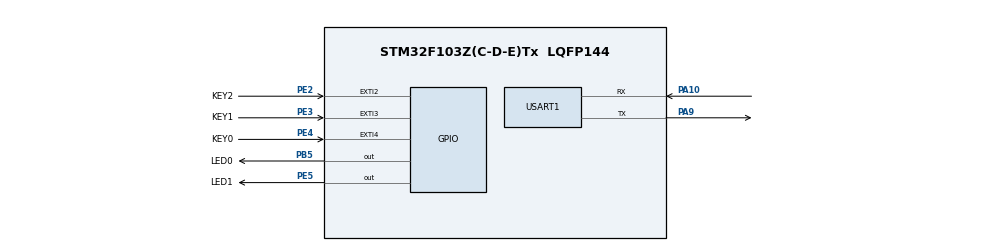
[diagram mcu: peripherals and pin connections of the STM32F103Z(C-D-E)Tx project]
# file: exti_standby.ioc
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Mcu.Family=STM32F1
Mcu.Name=STM32F103Z(C-D-E)Tx
Mcu.Package=LQFP144
NVIC.EXTI2_IRQn=true\:0\:0\:false\:false\:true\:true\:true\:true
NVIC.EXTI3_IRQn=true\:0\:0\:false\:false\:true\:true\:true\:true
NVIC.EXTI4_IRQn=true\:0\:0\:false\:false\:true\:true\:true\:true
NVIC.PriorityGroup=NVIC_PRIORITYGROUP_4
NVIC.USART1_IRQn=true\:0\:0\:false\:false\:true\:true\:true\:true
OSC_IN.Mode=HSE-External-Oscillator
OSC_IN.Signal=RCC_OSC_IN
OSC_OUT.Mode=HSE-External-Oscillator
OSC_OUT.Signal=RCC_OSC_OUT
PA0-WKUP.Mode=SYS_WakeUp0
PA0-WKUP.Signal=SYS_WKUP
PA10.Mode=Asynchronous
PA10.Signal=USART1_RX
PA13.Mode=JTAG_4_pins
PA13.Signal=SYS_JTMS-SWDIO
PA14.Mode=JTAG_4_pins
PA14.Signal=SYS_JTCK-SWCLK
PA15.Mode=JTAG_4_pins
PA15.Signal=SYS_JTDI
PA9.Mode=Asynchronous
PA9.Signal=USART1_TX
PB3.Mode=JTAG_4_pins
PB3.Signal=SYS_JTDO-TRACESWO
PB5.GPIO_Label=LED0
PB5.GPIO_ModeDefaultOutputPP=GPIO_MODE_OUTPUT_PP
PB5.GPIO_PuPd=GPIO_PULLUP
PB5.GPIO_Speed=GPIO_SPEED_FREQ_HIGH
PB5.Signal=GPIO_Output
PC14-OSC32_IN.Mode=LSE-External-Oscillator
PC14-OSC32_IN.Signal=RCC_OSC32_IN
PC15-OSC32_OUT.Mode=LSE-External-Oscillator
PC15-OSC32_OUT.Signal=RCC_OSC32_OUT
PE2.GPIO_Label=KEY2
PE2.GPIO_ModeDefaultEXTI=GPIO_MODE_IT_RISING_FALLING
PE2.GPIO_PuPd=GPIO_PULLUP
PE2.Signal=GPXTI2
PE3.GPIO_Label=KEY1
PE3.GPIO_ModeDefaultEXTI=GPIO_MODE_IT_RISING_FALLING
PE3.GPIO_PuPd=GPIO_PULLUP
PE3.Signal=GPXTI3
PE4.GPIO_Label=KEY0
PE4.GPIO_ModeDefaultEXTI=GPIO_MODE_IT_RISING_FALLING
PE4.GPIO_PuPd=GPIO_PULLUP
PE4.Signal=GPXTI4
PE5.GPIO_Label=LED1
PE5.GPIO_PuPd=GPIO_PULLUP
PE5.GPIO_Speed=GPIO_SPEED_FREQ_HIGH
PE5.Signal=GPIO_Output
ProjectManager.HeapSize=0x200
ProjectManager.StackSize=0x400
ProjectManager.TargetToolchain=STM32CubeIDE
RCC.APB1Freq_Value=8000000
RCC.APB2Freq_Value=8000000
USART1.VirtualMode=VM_ASYNC
board=custom

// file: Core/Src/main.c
/* USER CODE BEGIN Header */
/**
 ******************************************************************************
 * @file           : main.c
 * @brief          : Main program body
 ******************************************************************************
 * @attention
 *
 * Copyright (c) 2022 STMicroelectronics.
 * All rights reserved.
 *
 * This software is licensed under terms that can be found in the LICENSE file
 * in the root directory of this software component.
 * If no LICENSE file comes with this software, it is provided AS-IS.
 *
 ******************************************************************************
 */
/* USER CODE END Header */
#include "main.h"

/* USER CODE BEGIN Includes */
#include <stdarg.h>
/* USER CODE END Includes */

/* USER CODE BEGIN PTD */
//@ref:https://github.com/mpredfearn/simple-printf
int putchar(int c);
static void simple_outputchar(char **str, char c) {
	if (str) {
		**str = c;
		++(*str);
	} else {
		putchar(c);
	}
}

enum flags {
	PAD_ZERO = 1, PAD_RIGHT = 2,
};

static int prints(char **out, const char *string, int width, int flags) {
	int pc = 0, padchar = ' ';

	if (width > 0) {
		int len = 0;
		const char *ptr;
		for (ptr = string; *ptr; ++ptr)
			++len;
		if (len >= width)
			width = 0;
		else
			width -= len;
		if (flags & PAD_ZERO)
			padchar = '0';
	}
	if (!(flags & PAD_RIGHT)) {
		for (; width > 0; --width) {
			simple_outputchar(out, padchar);
			++pc;
		}
	}
	for (; *string; ++string) {
		simple_outputchar(out, *string);
		++pc;
	}
	for (; width > 0; --width) {
		simple_outputchar(out, padchar);
		++pc;
	}

	return pc;
}

#define PRINT_BUF_LEN 64

static int simple_outputi(char **out, long long i, int base, int sign,
		int width, int flags, int letbase) {
	char print_buf[PRINT_BUF_LEN];
	char *s;
	int t, neg = 0, pc = 0;
	unsigned long long u = i;

	if (i == 0) {
		print_buf[0] = '0';
		print_buf[1] = '\0';
		return prints(out, print_buf, width, flags);
	}

	if (sign && base == 10 && i < 0) {
		neg = 1;
		u = -i;
	}

	s = print_buf + PRINT_BUF_LEN - 1;
	*s = '\0';

	while (u) {
		t = u % base;
		if (t >= 10)
			t += letbase - '0' - 10;
		*--s = t + '0';
		u /= base;
	}

	if (neg) {
		if (width && (flags & PAD_ZERO)) {
			simple_outputchar(out, '-');
			++pc;
			--width;
		} else {
			*--s = '-';
		}
	}

	return pc + prints(out, s, width, flags);
}

static int simple_vsprintf(char **out, char *format, va_list ap) {
	int width, flags;
	int pc = 0;
	char scr[2];
	union {
		char c;
		char *s;
		int i;
		unsigned int u;
		long li;
		unsigned long lu;
		long long lli;
		unsigned long long llu;
		short hi;
		unsigned short hu;
		signed char hhi;
		unsigned char hhu;
		void *p;
	} u;

	for (; *format != 0; ++format) {
		if (*format == '%') {
			++format;
			width = flags = 0;
			if (*format == '\0')
				break;
			if (*format == '%')
				goto out;
			if (*format == '-') {
				++format;
				flags = PAD_RIGHT;
			}
			while (*format == '0') {
				++format;
				flags |= PAD_ZERO;
			}
			if (*format == '*') {
				width = va_arg(ap, int);
				format++;
			} else {
				for (; *format >= '0' && *format <= '9'; ++format) {
					width *= 10;
					width += *format - '0';
				}
			}
			switch (*format) {
			case ('d'):
				u.i = va_arg(ap, int);
				pc += simple_outputi(out, u.i, 10, 1, width, flags, 'a');
				break;

			case ('u'):
				u.u = va_arg(ap, unsigned int);
				pc += simple_outputi(out, u.u, 10, 0, width, flags, 'a');
				break;

			case ('x'):
				u.u = va_arg(ap, unsigned int);
				pc += simple_outputi(out, u.u, 16, 0, width, flags, 'a');
				break;

			case ('X'):
				u.u = va_arg(ap, unsigned int);
				pc += simple_outputi(out, u.u, 16, 0, width, flags, 'A');
				break;

			case ('c'):
				u.c = va_arg(ap, int);
				scr[0] = u.c;
				scr[1] = '\0';
				pc += prints(out, scr, width, flags);
				break;

			case ('s'):
				u.s = va_arg(ap, char*);
				pc += prints(out, u.s ? u.s : "(null)", width, flags);
				break;
			case ('l'):
				++format;
				switch (*format) {
				case ('d'):
					u.li = va_arg(ap, long);
					pc += simple_outputi(out, u.li, 10, 1, width, flags, 'a');
					break;

				case ('u'):
					u.lu = va_arg(ap, unsigned long);
					pc += simple_outputi(out, u.lu, 10, 0, width, flags, 'a');
					break;

				case ('x'):
					u.lu = va_arg(ap, unsigned long);
					pc += simple_outputi(out, u.lu, 16, 0, width, flags, 'a');
					break;

				case ('X'):
					u.lu = va_arg(ap, unsigned long);
					pc += simple_outputi(out, u.lu, 16, 0, width, flags, 'A');
					break;

				case ('l'):
					++format;
					switch (*format) {
					case ('d'):
						u.lli = va_arg(ap, long long);
						pc += simple_outputi(out, u.lli, 10, 1, width, flags,
								'a');
						break;

					case ('u'):
						u.llu = va_arg(ap, unsigned long long);
						pc += simple_outputi(out, u.llu, 10, 0, width, flags,
								'a');
						break;

					case ('x'):
						u.llu = va_arg(ap, unsigned long long);
						pc += simple_outputi(out, u.llu, 16, 0, width, flags,
								'a');
						break;

					case ('X'):
						u.llu = va_arg(ap, unsigned long long);
						pc += simple_outputi(out, u.llu, 16, 0, width, flags,
								'A');
						break;

					default:
						break;
					}
					break;
				default:
					break;
				}
				break;
			case ('h'):
				++format;
				switch (*format) {
				case ('d'):
					u.hi = va_arg(ap, int);
					pc += simple_outputi(out, u.hi, 10, 1, width, flags, 'a');
					break;

				case ('u'):
					u.hu = va_arg(ap, unsigned int);
					pc += simple_outputi(out, u.lli, 10, 0, width, flags, 'a');
					break;

				case ('x'):
					u.hu = va_arg(ap, unsigned int);
					pc += simple_outputi(out, u.lli, 16, 0, width, flags, 'a');
					break;

				case ('X'):
					u.hu = va_arg(ap, unsigned int);
					pc += simple_outputi(out, u.lli, 16, 0, width, flags, 'A');
					break;

				case ('h'):
					++format;
					switch (*format) {
					case ('d'):
						u.hhi = va_arg(ap, int);
						pc += simple_outputi(out, u.hhi, 10, 1, width, flags,
								'a');
						break;

					case ('u'):
						u.hhu = va_arg(ap, unsigned int);
						pc += simple_outputi(out, u.lli, 10, 0, width, flags,
								'a');
						break;

					case ('x'):
						u.hhu = va_arg(ap, unsigned int);
						pc += simple_outputi(out, u.lli, 16, 0, width, flags,
								'a');
						break;

					case ('X'):
						u.hhu = va_arg(ap, unsigned int);
						pc += simple_outputi(out, u.lli, 16, 0, width, flags,
								'A');
						break;

					default:
						break;
					}
					break;
				default:
					break;
				}
				break;
			default:
				break;
			}
		} else {
			out: simple_outputchar(out, *format);
			++pc;
		}
	}
	if (out)
		**out = '\0';
	return pc;
}

int simple_printf(char *fmt, ...) {
	va_list ap;
	int r;

	va_start(ap, fmt);
	r = simple_vsprintf(NULL, fmt, ap);
	va_end(ap);

	return r;
}

int simple_sprintf(char *buf, char *fmt, ...) {
	va_list ap;
	int r;

	va_start(ap, fmt);
	r = simple_vsprintf(&buf, fmt, ap);
	va_end(ap);

	return r;
}

/* USER CODE END PTD */

/* USER CODE BEGIN PM */
#define KEY0 HAL_GPIO_ReadPin(GPIOE,GPIO_PIN_4) 	//KEY0 按键 PE4
#define KEY1 HAL_GPIO_ReadPin(GPIOE,GPIO_PIN_3) 	//KEY1 按键 PE3
#define KEY2 HAL_GPIO_ReadPin(GPIOE,GPIO_PIN_2) 	//KEY2 按键 PE2
#define WK_UP HAL_GPIO_ReadPin(GPIOA,GPIO_PIN_0) 	//WKUP 按键 PA0

#define KEY0_PRES (1)
#define KEY1_PRES (1<<1)
#define KEY2_PRES (1<<2)
#define WKUP_PRES (1<<3)
/* USER CODE END PM */

UART_HandleTypeDef huart1;

void SystemClock_Config(void);
static void MX_GPIO_Init(void);
static void MX_USART1_UART_Init(void);

/* USER CODE BEGIN 0 */
enum KEY_PRESS_MODE {
	KEY_PRESS_SHORT_MODE, KEY_PRESS_LONG_MODE,
};
uint8_t Key_Scan(enum KEY_PRESS_MODE mode) {
	static uint8_t key_up = 1;
	if (mode == KEY_PRESS_SHORT_MODE) {
		key_up = 1;
	}

	if (key_up && (KEY0 == 0 || KEY1 == 0 || KEY2 == 0 || WK_UP == 1)) {
		HAL_Delay(10);
		key_up = 0;
		if (KEY0 == 0) {
			return KEY0_PRES;
		} else if (KEY1 == 0) {
			return KEY1_PRES;
		} else if (KEY2 == 0) {
			return KEY2_PRES;
		} else if (WK_UP == 1) {
			return WKUP_PRES;
		}
	} else if (KEY0 == 1 && KEY1 == 1 && KEY2 == 1 && WK_UP == 0) {
		key_up = 1;
	}
	return 0;

}

int putchar(int c) {
	HAL_UART_Transmit(&huart1, &c, 1, 10);
	return c;
}

//系统进入待机模式
void Sys_Enter_Standby(void) {
	__HAL_RCC_APB2_FORCE_RESET(); //复位所有 IO 口
	__HAL_RCC_PWR_CLK_ENABLE(); //使能 PWR 时钟

	__HAL_PWR_CLEAR_FLAG(PWR_FLAG_WU); //清除 Wake_UP 标志
	HAL_PWR_EnableWakeUpPin(PWR_WAKEUP_PIN1); //设置 WKUP 用于唤醒
	HAL_PWR_EnterSTANDBYMode(); //进入待机模式
}
/* USER CODE END 0 */

int main(void) {

	/* MCU Configuration--------------------------------------------------------*/

	/* Reset of all peripherals, Initializes the Flash interface and the Systick. */
	HAL_Init();

	/* Configure the system clock */
	SystemClock_Config();

	/* Initialize all configured peripherals */
	MX_GPIO_Init();
	MX_USART1_UART_Init();
	/* USER CODE BEGIN 2 */
	simple_printf("sys start\n");
	HAL_GPIO_WritePin(LED0_GPIO_Port, LED0_Pin, GPIO_PIN_SET);
	HAL_GPIO_WritePin(LED1_GPIO_Port, LED1_Pin, GPIO_PIN_SET);
	HAL_Delay(1000);
	HAL_GPIO_WritePin(LED0_GPIO_Port, LED0_Pin, GPIO_PIN_RESET);
	HAL_GPIO_WritePin(LED1_GPIO_Port, LED1_Pin, GPIO_PIN_RESET);
	HAL_Delay(1000);
	/* USER CODE END 2 */
	simple_printf("sys standby\n");
	Sys_Enter_Standby();
	/* Infinite loop */
	while (1) {
		simple_printf("running\n");
	}
}

void SystemClock_Config(void) {
	RCC_OscInitTypeDef RCC_OscInitStruct = { 0 };
	RCC_ClkInitTypeDef RCC_ClkInitStruct = { 0 };

	/** Initializes the RCC Oscillators according to the specified parameters
	 * in the RCC_OscInitTypeDef structure.
	 */
	RCC_OscInitStruct.OscillatorType = RCC_OSCILLATORTYPE_HSI;
	RCC_OscInitStruct.HSIState = RCC_HSI_ON;
	RCC_OscInitStruct.HSICalibrationValue = RCC_HSICALIBRATION_DEFAULT;
	RCC_OscInitStruct.PLL.PLLState = RCC_PLL_NONE;
	if (HAL_RCC_OscConfig(&RCC_OscInitStruct) != HAL_OK) {
		Error_Handler();
	}

	/** Initializes the CPU, AHB and APB buses clocks
	 */
	RCC_ClkInitStruct.ClockType = RCC_CLOCKTYPE_HCLK | RCC_CLOCKTYPE_SYSCLK
			| RCC_CLOCKTYPE_PCLK1 | RCC_CLOCKTYPE_PCLK2;
	RCC_ClkInitStruct.SYSCLKSource = RCC_SYSCLKSOURCE_HSI;
	RCC_ClkInitStruct.AHBCLKDivider = RCC_SYSCLK_DIV1;
	RCC_ClkInitStruct.APB1CLKDivider = RCC_HCLK_DIV1;
	RCC_ClkInitStruct.APB2CLKDivider = RCC_HCLK_DIV1;

	if (HAL_RCC_ClockConfig(&RCC_ClkInitStruct, FLASH_LATENCY_0) != HAL_OK) {
		Error_Handler();
	}
}

static void MX_USART1_UART_Init(void) {

	huart1.Instance = USART1;
	huart1.Init.BaudRate = 115200;
	huart1.Init.WordLength = UART_WORDLENGTH_8B;
	huart1.Init.StopBits = UART_STOPBITS_1;
	huart1.Init.Parity = UART_PARITY_NONE;
	huart1.Init.Mode = UART_MODE_TX_RX;
	huart1.Init.HwFlowCtl = UART_HWCONTROL_NONE;
	huart1.Init.OverSampling = UART_OVERSAMPLING_16;
	if (HAL_UART_Init(&huart1) != HAL_OK) {
		Error_Handler();
	}

}

static void MX_GPIO_Init(void) {
	GPIO_InitTypeDef GPIO_InitStruct = { 0 };

	/* GPIO Ports Clock Enable */
	__HAL_RCC_GPIOE_CLK_ENABLE();
	__HAL_RCC_GPIOC_CLK_ENABLE();
	__HAL_RCC_GPIOA_CLK_ENABLE();
	__HAL_RCC_GPIOB_CLK_ENABLE();

	/*Configure GPIO pin Output Level */
	HAL_GPIO_WritePin(LED1_GPIO_Port, LED1_Pin, GPIO_PIN_RESET);

	/*Configure GPIO pin Output Level */
	HAL_GPIO_WritePin(LED0_GPIO_Port, LED0_Pin, GPIO_PIN_RESET);

	/*Configure GPIO pins : KEY2_Pin KEY1_Pin KEY0_Pin */
	GPIO_InitStruct.Pin = KEY2_Pin | KEY1_Pin | KEY0_Pin;
	GPIO_InitStruct.Mode = GPIO_MODE_IT_RISING_FALLING;
	GPIO_InitStruct.Pull = GPIO_PULLUP;
	HAL_GPIO_Init(GPIOE, &GPIO_InitStruct);

	/*Configure GPIO pin : LED1_Pin */
	GPIO_InitStruct.Pin = LED1_Pin;
	GPIO_InitStruct.Mode = GPIO_MODE_OUTPUT_PP;
	GPIO_InitStruct.Pull = GPIO_PULLUP;
	GPIO_InitStruct.Speed = GPIO_SPEED_FREQ_HIGH;
	HAL_GPIO_Init(LED1_GPIO_Port, &GPIO_InitStruct);

	/*Configure GPIO pin : LED0_Pin */
	GPIO_InitStruct.Pin = LED0_Pin;
	GPIO_InitStruct.Mode = GPIO_MODE_OUTPUT_PP;
	GPIO_InitStruct.Pull = GPIO_PULLUP;
	GPIO_InitStruct.Speed = GPIO_SPEED_FREQ_HIGH;
	HAL_GPIO_Init(LED0_GPIO_Port, &GPIO_InitStruct);

	/* EXTI interrupt init*/
	HAL_NVIC_SetPriority(EXTI2_IRQn, 0, 0);
	HAL_NVIC_EnableIRQ(EXTI2_IRQn);

	HAL_NVIC_SetPriority(EXTI3_IRQn, 0, 0);
	HAL_NVIC_EnableIRQ(EXTI3_IRQn);

	HAL_NVIC_SetPriority(EXTI4_IRQn, 0, 0);
	HAL_NVIC_EnableIRQ(EXTI4_IRQn);

}

/* USER CODE BEGIN 4 */
void HAL_GPIO_EXTI_Callback(uint16_t GPIO_Pin) {

}
/* USER CODE END 4 */

void Error_Handler(void) {
	__disable_irq();
	while (1) {
	}
}
